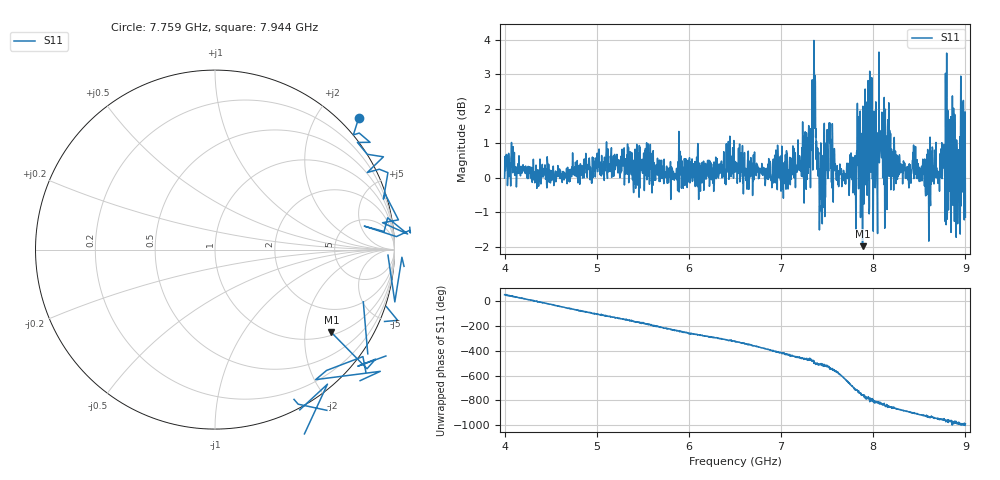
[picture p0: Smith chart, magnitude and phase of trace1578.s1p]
! Created with skrf 1.8.0 (http://scikit-rf.org).
# Hz S RI R 50.0
!freq ReS11 ImS11
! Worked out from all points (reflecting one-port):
!   1601 points, 4 GHz to 9 GHz, reference 50 ohm
!   lowest |S11| = -2.0 dB at 7.884 GHz (marker M1), VSWR 8.81, Z = 54.4 - j137 ohm
!   phase of S11 starts at 52 deg and turns -1040 deg over the sweep
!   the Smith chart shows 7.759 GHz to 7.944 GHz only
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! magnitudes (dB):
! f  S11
! 4 GHz  0.0
! 4.625 GHz  -0.1
! 5.25 GHz  0.0
! 5.875 GHz  0.2
! 6.5 GHz  0.4
! 7.125 GHz  0.1
! 7.294 GHz  0.1
! 7.353 GHz  1.9
! 7.381 GHz  0.5
! 7.403 GHz  0.6
! 7.438 GHz  -0.5
! 7.519 GHz  1.0
! 7.609 GHz  0.4
! 7.75 GHz  0.4
! 7.791 GHz  -0.2
! 7.847 GHz  1.8
! 7.884 GHz  -2.0
! 7.981 GHz  0.4
! 7.988 GHz  2.0
! 8.025 GHz  0.4
! 8.075 GHz  0.9
! 8.375 GHz  0.1
! 8.45 GHz  0.2
! 8.603 GHz  -1.8
! 8.834 GHz  1.7
! 8.919 GHz  -0.6
! 8.972 GHz  0.5
! 9 GHz  -1.1
